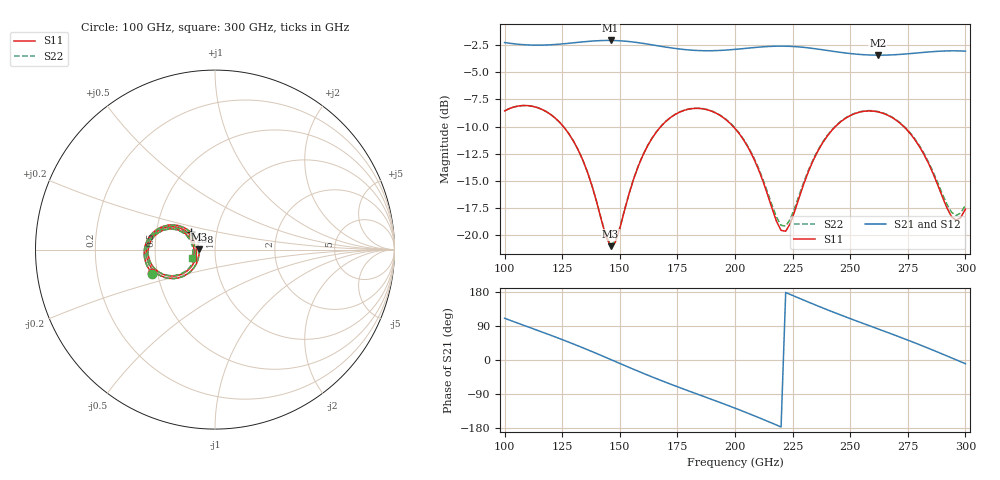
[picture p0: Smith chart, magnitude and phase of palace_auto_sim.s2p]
#  GHZ S DB R 50
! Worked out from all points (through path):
!   101 points, 100 GHz to 300 GHz, reference 50 ohm
!   highest |S21| = -2.05 dB at 146 GHz (marker M1); lowest = -3.4 dB at 262 GHz (marker M2)
!   group delay of S21, straight-line fit = 6.68 ps
!   lowest |S11| = -21.1 dB at 146 GHz (marker M3), VSWR 1.19, Z = 41.9 + j0.174 ohm
!   |S11| at or under -10 dB: 125.5 GHz to 167.8 GHz (42.36 GHz wide, 28.9 % of centre); 199.2 GHz to 243.6 GHz (44.41 GHz wide, 20.1 % of centre); 273.2 GHz to end of sweep
!   |S22| runs from -20.9 to -8.1 dB; largest |S21 - S12| = 9.1e-14
!   S11 on the Smith chart (normalised r, x): 100 GHz: 0.47, -0.14; 138 GHz: 0.75, +0.15; 300 GHz: 0.78, -0.08
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100  -8.56 -159.1  -2.24 110.2  -2.24 110.2  -8.55 -159.0
108  -8.06 -173.8  -2.44 92.2  -2.44 92.2  -8.06 -173.7
118  -8.62 168.3  -2.47 69.9  -2.47 69.9  -8.61 168.6
134  -13.14 145.0  -2.18 32.1  -2.18 32.1  -13.12 145.5
138  -15.53 144.3  -2.11 22.1  -2.11 22.1  -15.50 144.9
146  -21.06 178.7  -2.05 1.4  -2.05 1.4  -20.93 179.0
148  -20.73 -164.0  -2.06 -3.8  -2.06 -3.8  -20.61 -163.9
156  -14.86 -138.1  -2.20 -24.6  -2.20 -24.6  -14.82 -138.1
168  -9.96 -150.7  -2.60 -54.2  -2.60 -54.2  -9.94 -150.5
184  -8.32 -177.4  -2.98 -90.8  -2.98 -90.8  -8.30 -176.9
200  -10.18 157.1  -2.87 -127.1  -2.87 -127.1  -10.13 158.0
212  -14.97 148.0  -2.64 -156.3  -2.64 -156.3  -14.81 149.6
220  -19.59 174.4  -2.58 -176.7  -2.58 -176.7  -19.13 175.1
224  -18.96 -159.7  -2.59 173.0  -2.59 173.0  -18.56 -160.7
234  -13.11 -143.2  -2.79 147.5  -2.79 147.5  -13.01 -144.2
248  -9.24 -160.4  -3.21 113.9  -3.21 113.9  -9.20 -160.8
262  -8.64 177.6  -3.41 82.2  -3.41 82.2  -8.61 177.6
268  -9.15 168.4  -3.38 68.6  -3.38 68.6  -9.11 168.6
278  -11.19 155.2  -3.23 45.4  -3.23 45.4  -11.12 155.8
286  -14.36 151.6  -3.08 25.8  -3.08 25.8  -14.20 152.5
294  -18.34 171.4  -3.01 5.6  -3.01 5.6  -17.93 171.8
300  -17.64 -158.3  -3.04 -9.8  -3.04 -9.8  -17.28 -159.9
